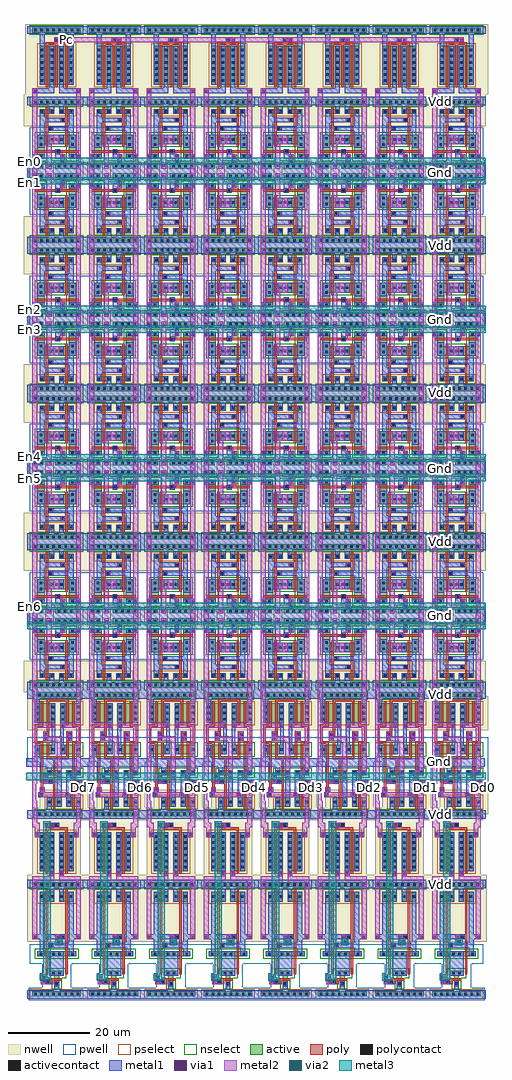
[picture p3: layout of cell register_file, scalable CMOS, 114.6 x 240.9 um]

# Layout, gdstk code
import gdstk
lib = gdstk.Library(unit=1e-6, precision=1e-09)
def R(c, l, rs):  # rectangles x0, y0, x1, y1
    for r in rs: c.add(gdstk.rectangle(r[:2], r[2:], *l))
def A(c, l, x, y, w, h, nx, ny, dx, dy):  # array of equal rectangles
    R(c, l, [(x+i*dx, y+j*dy, x+i*dx+w, y+j*dy+h) for i in range(nx) for j in range(ny)])
pwell = (41, 0)
nwell = (42, 0)
active = (43, 0)
pselect = (44, 0)
nselect = (45, 0)
poly = (46, 0)
polycontact = (47, 0)
activecontact = (48, 0)
metal1 = (49, 0)
via1 = (50, 0)
metal2 = (51, 0)
via2 = (61, 0)
metal3 = (62, 0)

precharge = lib.new_cell('precharge')
R(precharge, nwell, [(-7.5,-5.1,8.1,12.3)])
R(precharge, active, [(-3.9,-2.7,4.5,6.9), (-5.7,10.2,6.3,11.4)])
R(precharge, pselect, [(-4.5,-3.3,5.1,7.5)])
R(precharge, nselect, [(-6.3,9.6,6.9,12)])
A(precharge, poly, -2.4, -3.3, 0.6, 10.5, 3, 1, 2.4, 0)
R(precharge, poly, [(-2.4,7.2,3,7.8), (-0.3,7.8,0.9,9)])
R(precharge, polycontact, [(0,8.1,0.6,8.7)])
A(precharge, activecontact, -3.6, -1.95, 0.6, 0.6, 4, 6, 2.4, 1.5)
A(precharge, activecontact, -5.25, 10.5, 0.6, 0.6, 8, 1, 1.5, 0)
R(precharge, metal1, [(-5.7,-4.8,-0.3,-3.6), (0.9,-4.8,6.3,-3.6), (-1.5,-3.6,-0.3,6.9), (0.9,-3.6,2.1,6.9), (-3.9,-2.7,-2.7,9.9), (3.3,-2.7,4.5,9.9), (-0.3,7.8,2.1,9), (-6.9,9.9,7.5,11.7)])
R(precharge, via1, [(-5.4,-4.5,-4.8,-3.9), (5.4,-4.5,6,-3.9), (1.2,8.1,1.8,8.7)])
R(precharge, metal2, [(-5.7,-6,-4.5,-3.6), (5.1,-6,6.3,-3.6), (0.9,7.8,2.1,9)])
precharge.add(gdstk.Label('Clk', (1.5,8.4), layer=51, texttype=0))
precharge.add(gdstk.Label('Bl', (-5.1,-5.4), layer=51, texttype=0))
precharge.add(gdstk.Label('Bl_', (5.7,-5.4), layer=51, texttype=0))

sram = lib.new_cell('sram')
R(sram, pwell, [(-2.7,-14.4,11.1,-11.4), (-2.4,-11.4,3,-9.3), (5.4,-11.4,10.8,-9.3), (-2.4,-9.3,10.8,-3.3)])
R(sram, nwell, [(-3.9,-3,11.4,4.8)])
R(sram, active, [(-1.8,-13.5,0.9,-12.3), (3.9,-13.5,10.2,-12.3), (-0.6,-11.1,1.2,-7.5), (7.2,-11.1,9,-7.5), (-0.6,-7.5,3.6,-5.1), (4.8,-7.5,9,-5.1), (0,0,3.6,1.2), (4.8,0,8.4,1.2), (-1.8,2.4,10.2,3.6)])
R(sram, pselect, [(-2.4,-14.1,1.5,-11.7), (3.3,-14.1,10.8,-11.7), (-0.6,-0.6,9,1.8)])
R(sram, nselect, [(-1.2,-11.7,1.8,-8.1), (6.6,-11.7,9.6,-8.1), (-1.2,-8.1,9.6,-4.5), (-2.4,1.8,10.8,4.2)])
R(sram, poly, [(3.9,-9.9,5.1,-9.6), (-1.2,-9.6,9.6,-9), (3.9,-9,5.1,-8.7), (1.5,-8.1,2.1,-4.2), (6.3,-8.1,6.9,-2.1), (1.5,-4.2,3.3,-3), (1.5,-3,2.1,1.8), (5.1,-2.1,6.9,-0.9), (6.3,-0.9,6.9,1.8)])
R(sram, polycontact, [(4.2,-9.6,4.8,-9), (2.4,-3.9,3,-3.3), (5.4,-1.8,6,-1.2)])
A(sram, activecontact, 4.5, -13.2, 0.6, 0.6, 4, 1, 1.5, 0)
A(sram, activecontact, 0.3, 0.3, 0.6, 0.6, 4, 1, 2.4, 0)
A(sram, activecontact, -1.35, 2.7, 0.6, 0.6, 8, 1, 1.5, 0)
R(sram, activecontact, [(-1.5,-13.2,-0.9,-12.6), (0,-13.2,0.6,-12.6), (0,-10.8,0.6,-10.2), (7.8,-10.8,8.4,-10.2), (0,-7.8,0.6,-7.2), (7.8,-7.8,8.4,-7.2), (2.7,-6.6,3.3,-6), (5.1,-6.6,5.7,-6), (0,-6.3,0.6,-5.7), (7.8,-6.3,8.4,-5.7)])
R(sram, metal1, [(-3,-14.1,11.4,-12), (-1.8,-11.1,1.2,-9.9), (3.9,-11.1,6.3,-9.9), (7.2,-11.1,10.2,-9.9), (3.9,-9.9,5.1,-8.7), (-0.6,-8.4,1.2,-5.1), (7.2,-8.4,9,-5.1), (2.4,-7.5,6,-5.1), (0,-5.1,1.2,-2.1), (7.2,-5.1,8.4,-4.2), (2.1,-4.2,8.4,-3), (7.2,-3,8.4,1.2), (0,-2.1,6.3,-0.9), (0,-0.9,1.2,1.2), (2.4,0,3.6,2.1), (4.8,0,6,2.1), (-3,2.1,11.4,4.2)])
R(sram, via1, [(2.1,-13.05,2.7,-12.45), (-1.5,-10.8,-0.9,-10.2), (5.4,-10.8,6,-10.2), (9.3,-10.8,9.9,-10.2), (3.9,-6.6,4.5,-6)])
R(sram, metal2, [(-1.8,-14.1,-0.6,4.2), (9,-14.1,10.2,4.2), (1.8,-13.5,3,-7.5), (5.1,-12.3,6.3,-9.9), (1.8,-7.5,4.8,-5.1)])
R(sram, via2, [(5.4,-12,6,-11.4)])
R(sram, metal3, [(-3,-12.6,11.4,-10.8)])
sram.add(gdstk.Label('Vdd', (4.2,3), layer=49, texttype=0))
sram.add(gdstk.Label('Gnd', (3.6,-13.2), layer=49, texttype=0))
sram.add(gdstk.Label('En', (10.8,-11.7), layer=62, texttype=0))
sram.add(gdstk.Label('Bl', (-1.2,-6.9), layer=51, texttype=0))
sram.add(gdstk.Label('Bl_', (9.6,-6.9), layer=51, texttype=0))

write_driver = lib.new_cell('write_driver')
R(write_driver, pwell, [(1.2,-15.9,13.2,-10.8), (-1.8,-10.8,13.2,-4.8)])
R(write_driver, nwell, [(-0.6,-25.2,12,-23.7), (-0.6,-23.7,13.2,-22.2), (1.2,-22.2,13.2,-17.7), (-1.8,-3,13.2,5.4), (-0.6,5.4,12,7.2)])
R(write_driver, active, [(0.3,-24.3,11.1,-23.1), (3,-21.9,6.6,-19.5), (7.8,-21.9,11.4,-19.5), (3,-14.1,6.6,-12.9), (7.8,-14.1,11.4,-12.9), (0,-9,5.1,-6.6), (6.3,-9,11.4,-6.6), (0,-1.2,5.1,3.6), (6.3,-1.2,11.4,3.6), (0.3,5.1,11.1,6.3)])
R(write_driver, pselect, [(2.4,-22.5,12,-18.9), (-0.6,-1.8,12,4.2)])
R(write_driver, nselect, [(-0.3,-24.9,11.7,-22.5), (2.4,-14.7,12,-12.3), (-0.6,-9.6,12,-6), (-0.3,4.5,11.7,6.9)])
R(write_driver, poly, [(4.5,-22.5,5.1,-16.2), (9.3,-22.5,9.9,-16.5), (0.9,-19.5,2.1,-18.3), (1.5,-18.3,2.1,-6.3), (9.3,-16.5,11.1,-15.3), (3.3,-16.2,5.1,-15), (9.3,-15.3,9.9,-6.3), (4.5,-15,5.1,-10.2), (3,-10.2,8.4,-9.6), (3,-9.6,3.6,-6), (7.8,-9.6,8.4,-4.5), (0,-6.3,2.1,-5.7), (9.3,-6.3,11.4,-5.7), (0,-5.7,0.6,-2.1), (10.8,-5.7,11.4,-2.1), (2.1,-4.5,3.6,-3.3), (7.8,-4.5,9.3,-3.3), (3,-3.3,3.6,4.2), (0,-2.1,2.1,-1.5), (9.3,-2.1,11.4,-1.5), (7.8,-1.8,8.4,4.2), (1.5,-1.5,2.1,4.2), (9.3,-1.5,9.9,4.2), (3,4.2,8.4,4.8)])
R(write_driver, polycontact, [(1.2,-19.2,1.8,-18.6), (10.2,-16.2,10.8,-15.6), (3.6,-15.9,4.2,-15.3), (2.4,-4.2,3,-3.6), (8.4,-4.2,9,-3.6)])
A(write_driver, activecontact, 0.9, -24, 0.6, 0.6, 7, 2, 1.5, 29.4)
A(write_driver, activecontact, 3.3, -21, 0.6, 0.6, 4, 2, 2.4, 7.2)
A(write_driver, activecontact, 0.3, -0.6, 0.6, 0.6, 1, 3, 0, 1.5)
A(write_driver, activecontact, 4.2, -0.6, 0.6, 0.6, 1, 3, 0, 1.5)
A(write_driver, activecontact, 6.6, -0.6, 0.6, 0.6, 1, 3, 0, 1.5)
A(write_driver, activecontact, 10.5, -0.6, 0.6, 0.6, 1, 3, 0, 1.5)
R(write_driver, activecontact, [(0.3,-8.1,0.9,-7.5), (4.2,-8.1,4.8,-7.5), (6.6,-8.1,7.2,-7.5), (10.5,-8.1,11.1,-7.5)])
R(write_driver, metal1, [(-1.8,-24.9,12.6,-22.8), (3,-22.8,4.2,-19.5), (10.2,-22.8,11.4,-19.5), (5.4,-21.9,6.6,-12.9), (7.8,-21.9,9,-19.5), (0.9,-19.5,2.1,-18.3), (7.5,-19.5,9,-18.3), (1.2,-18.3,2.4,-17.1), (7.8,-18.3,9,-12.9), (9.9,-16.5,12.6,-15.3), (2.1,-16.2,4.5,-15), (3,-14.1,4.2,-12), (10.2,-14.1,11.4,-12), (0,-12,11.4,-10.2), (0,-10.2,1.2,-6.6), (10.2,-10.2,11.4,-6.6), (3.9,-9,5.1,-6.6), (6.3,-9,7.5,-6.6), (4.2,-6.6,5.1,-2.4), (6.3,-6.6,7.2,-2.4), (2.1,-5.7,3.3,-3.3), (8.1,-5.7,9.3,-3.3), (3.9,-2.4,5.1,3.6), (6.3,-2.4,7.5,3.6), (0,-1.2,1.2,4.8), (10.2,-1.2,11.4,4.8), (-1.8,4.8,12.6,6.9)])
R(write_driver, via1, [(7.8,-19.2,8.4,-18.6), (1.5,-18,2.1,-17.4), (11.7,-16.2,12.3,-15.6), (2.4,-15.9,3,-15.3), (5.7,-15,6.3,-14.4), (2.4,-5.4,3,-4.8), (8.4,-5.4,9,-4.8), (4.2,-2.1,4.8,-1.5), (6.6,-2.1,7.2,-1.5)])
R(write_driver, metal2, [(-0.6,-24.9,0.6,-20.4), (10.2,-24.9,11.4,-19.5), (-0.6,-20.4,0.3,-16.2), (1.2,-19.5,8.7,-18.3), (9.6,-19.5,11.4,-18.6), (9.6,-18.6,10.5,-17.1), (1.2,-18.3,2.4,-17.1), (11.4,-17.7,12.6,-15.3), (9.3,-17.1,10.5,-16.2), (-0.6,-16.2,0.6,-2.4), (2.1,-16.2,3.3,-13.8), (9.3,-16.2,10.2,-13.8), (5.4,-15.3,6.6,-5.7), (9.3,-13.8,11.4,-12.6), (10.2,-12.6,11.4,-2.4), (2.1,-5.7,6.6,-4.5), (7.8,-5.7,9.3,-4.5), (2.1,-4.5,3.3,-3.3), (8.1,-4.5,9.3,-3.3), (-0.6,-2.4,5.1,-1.2), (6.3,-2.4,11.4,-1.2), (-0.6,-1.2,0.6,6.9), (10.2,-1.2,11.4,6.9)])
R(write_driver, via2, [(11.7,-17.4,12.3,-16.8), (2.4,-14.7,3,-14.1)])
R(write_driver, metal3, [(11.1,-18,12.9,-16.2), (-2.1,-15.3,12.6,-13.5)])
write_driver.add(gdstk.Label('Gnd', (5.7,-12), layer=49, texttype=0))
write_driver.add(gdstk.Label('Vdd', (5.7,6.6), layer=49, texttype=0))
write_driver.add(gdstk.Label('Dd', (10.5,-15.6), layer=49, texttype=0))
write_driver.add(gdstk.Label('Vdd', (5.7,-23.7), layer=49, texttype=0))
write_driver.add(gdstk.Label('Bl_', (10.8,-18.9), layer=51, texttype=0))
write_driver.add(gdstk.Label('Ds', (12,-14.4), layer=62, texttype=0))
write_driver.add(gdstk.Label('Dd', (12,-17.1), layer=62, texttype=0))

isolation = lib.new_cell('isolation')
R(isolation, nwell, [(-6,3.3,6,16.5)])
R(isolation, active, [(-4.2,5.1,-0.6,14.7), (0.6,5.1,4.2,14.7)])
R(isolation, pselect, [(-4.8,4.5,4.8,15.3)])
R(isolation, poly, [(-2.7,4.5,-2.1,15.3), (2.1,4.5,2.7,15.3), (-2.7,15.3,2.7,15.9), (-0.6,15.9,0.6,17.1)])
R(isolation, polycontact, [(-0.3,16.2,0.3,16.8)])
A(isolation, activecontact, -3.9, 5.85, 0.6, 0.6, 4, 6, 2.4, 1.5)
R(isolation, metal1, [(-1.8,3.9,-0.6,14.7), (0.6,3.9,1.8,14.7), (-4.2,5.1,-3,13.5), (3,5.1,4.2,13.5), (-5.4,13.5,-3,14.7), (3,13.5,5.4,14.7), (-0.6,15.9,0.6,17.1)])
R(isolation, via1, [(-1.5,4.2,-0.9,4.8), (0.9,4.2,1.5,4.8), (-5.1,13.8,-4.5,14.4), (4.5,13.8,5.1,14.4)])
R(isolation, metal2, [(-6,1.5,-4.8,2.7), (4.8,1.5,6,2.7), (-6,2.7,-0.6,3.9), (0.6,2.7,6,3.9), (-1.8,3.9,-0.6,5.1), (0.6,3.9,1.8,5.1), (-5.4,13.5,-4.2,15.9), (4.2,13.5,5.4,15.9), (-6,15.9,-4.2,17.1), (4.2,15.9,6,17.1), (-6,17.1,-4.8,18.3), (4.8,17.1,6,18.3)])
isolation.add(gdstk.Label('B', (-5.4,17.7), layer=51, texttype=0))
isolation.add(gdstk.Label('B_', (5.4,17.7), layer=51, texttype=0))
isolation.add(gdstk.Label('Bl', (-5.4,2.1), layer=51, texttype=0))
isolation.add(gdstk.Label('Bl_', (5.4,2.1), layer=51, texttype=0))
isolation.add(gdstk.Label('As', (0,16.5), layer=49, texttype=0))

diffamp = lib.new_cell('diffamp')
R(diffamp, pwell, [(22.8,-11.4,36.6,-8.4), (26.1,-8.4,33.3,-2.4), (23.1,-2.4,36.3,2.4)])
R(diffamp, nwell, [(22.5,3,37.2,19.5)])
R(diffamp, active, [(23.7,-10.5,35.7,-9.3), (29.1,-8.1,30.3,-5.4), (27.9,-5.4,31.5,-4.2), (24.9,-0.6,34.5,0.6), (25.5,12.9,29.1,15.3), (30.3,12.9,33.9,15.3), (23.7,16.5,35.7,17.7)])
R(diffamp, pselect, [(23.1,-11.1,36.3,-8.7), (24.9,12.3,34.5,15.9)])
R(diffamp, nselect, [(28.5,-8.7,30.9,-6), (27.3,-6,32.1,-3.6), (24.3,-1.2,35.1,1.2), (23.1,15.9,36.3,18.3)])
R(diffamp, poly, [(27,-7.5,28.8,-6.6), (27,-6.6,30.9,-6.3), (28.2,-6.3,30.9,-6), (27,-5.1,27.6,1.5), (31.8,-5.1,32.4,3.6), (27,1.5,28.8,2.7), (27,2.7,27.6,15.9), (30.6,3.6,32.4,4.8), (31.8,4.8,32.4,15.9)])
R(diffamp, polycontact, [(27.3,-7.2,27.9,-6.6), (27.9,1.8,28.5,2.4), (30.9,3.9,31.5,4.5)])
A(diffamp, activecontact, 24.15, -10.2, 0.6, 0.6, 8, 2, 1.5, 27)
A(diffamp, activecontact, 25.8, 13.8, 0.6, 0.6, 4, 1, 2.4, 0)
R(diffamp, activecontact, [(29.4,-7.8,30,-7.2), (28.65,-5.1,29.25,-4.5), (30.15,-5.1,30.75,-4.5), (25.5,-0.3,26.1,0.3), (28.65,-0.3,29.25,0.3), (30.15,-0.3,30.75,0.3), (33.3,-0.3,33.9,0.3)])
R(diffamp, metal1, [(22.5,-11.1,36.9,-9), (29.1,-9,30.3,-6.9), (27,-7.5,28.2,-6.3), (27.9,-5.4,31.5,0.6), (24.9,-0.6,26.7,0.6), (32.7,-0.6,34.5,0.6), (25.5,0.6,26.7,3.6), (32.7,0.6,33.9,1.5), (27.6,1.5,33.9,2.7), (32.7,2.7,33.9,3.6), (23.7,3.6,31.8,4.8), (32.7,3.6,35.7,4.8), (25.5,4.8,26.7,15.3), (32.7,4.8,33.9,15.3), (27.9,12.9,29.1,16.2), (30.3,12.9,31.5,16.2), (22.5,16.2,36.9,18.3)])
R(diffamp, via1, [(24,3.9,24.6,4.5), (29.7,3.9,30.3,4.5), (34.8,3.9,35.4,4.5)])
R(diffamp, metal2, [(29.7,2.4,30.9,3.6), (23.7,3.6,24.9,18.3), (29.4,3.6,30.6,4.8), (34.5,3.6,35.7,18.3)])
R(diffamp, via2, [(30,2.7,30.6,3.3)])
R(diffamp, metal3, [(29.4,2.1,31.2,3.9)])
diffamp.add(gdstk.Label('Vdd', (29.7,17.1), layer=49, texttype=0))
diffamp.add(gdstk.Label('As', (27.6,-6.9), layer=49, texttype=0))
diffamp.add(gdstk.Label('Gnd', (29.7,-9.9), layer=49, texttype=0))
diffamp.add(gdstk.Label('A', (24.3,5.4), layer=51, texttype=0))
diffamp.add(gdstk.Label('Ad', (30.3,3), layer=62, texttype=0))

reg_bit = lib.new_cell('reg_bit')
R(reg_bit, nwell, [(0,-49.8,1.2,-47.7), (10.8,-49.8,12,-47.7), (-1.2,-46.8,0,-44.7), (0,-31.2,12,-30), (-1.2,0.6,0,1.5), (12.6,0.6,13.2,1.5)])
R(reg_bit, metal1, [(-1.2,-74.1,0,-72), (2.1,-70.5,3.3,-69.3), (-1.2,-46.8,0,-44.7), (4.2,-31.8,5.4,-30.6), (-1.2,-29.7,0,-27.6), (-1.5,-16.8,12.9,-14.7)])
R(reg_bit, via1, [(2.4,-70.2,3,-69.6), (4.5,-31.5,5.1,-30.9)])
R(reg_bit, metal2, [(2.1,-70.5,3.3,-68.1), (0,-49.8,1.2,-47.7), (10.8,-49.8,12,-47.7), (0.6,-33,1.8,-31.8), (10.2,-33,11.4,-31.8), (3,-31.8,5.4,-30.6)])
R(reg_bit, via2, [(2.4,-69,3,-68.4), (3.3,-31.5,3.9,-30.9)])
R(reg_bit, metal3, [(1.8,-69.6,4.5,-67.8), (2.7,-67.8,4.5,-30.3), (-1.2,-20.1,0.3,-18.3)])
reg_bit.add(gdstk.Reference(precharge, (5.7,154.2)))
reg_bit.add(gdstk.Reference(sram, (1.8,144.3)))
reg_bit.add(gdstk.Reference(sram, (1.8,116.1), x_reflection=True))
reg_bit.add(gdstk.Reference(sram, (1.8,107.7)))
reg_bit.add(gdstk.Reference(sram, (1.8,79.5), x_reflection=True))
reg_bit.add(gdstk.Reference(sram, (1.8,71.1)))
reg_bit.add(gdstk.Reference(sram, (1.8,42.9), x_reflection=True))
reg_bit.add(gdstk.Reference(sram, (1.8,34.5)))
reg_bit.add(gdstk.Reference(sram, (1.8,6.3), x_reflection=True))
reg_bit.add(gdstk.Reference(write_driver, (0.6,-4.8)))
reg_bit.add(gdstk.Reference(isolation, (6,-47.7)))
reg_bit.add(gdstk.Reference(diffamp, (-23.7,-63)))
reg_bit.add(gdstk.Label('Ds', (-0.6,-19.2), layer=62, texttype=0))
reg_bit.add(gdstk.Label('Vdd', (-0.6,-45.6), layer=49, texttype=0))
reg_bit.add(gdstk.Label('Vdd', (-0.6,-28.8), layer=49, texttype=0))
reg_bit.add(gdstk.Label('Gnd', (-0.6,-15.9), layer=49, texttype=0))
reg_bit.add(gdstk.Label('A', (0.6,-49.2), layer=51, texttype=0))
reg_bit.add(gdstk.Label('Bl', (1.2,-32.4), layer=51, texttype=0))
reg_bit.add(gdstk.Label('Bl_', (10.8,-32.4), layer=51, texttype=0))
reg_bit.add(gdstk.Label('A_', (11.4,-49.2), layer=51, texttype=0))
reg_bit.add(gdstk.Label('Gnd', (-0.6,-72.9), layer=49, texttype=0))
reg_bit.add(gdstk.Label('As', (2.7,-68.7), layer=62, texttype=0))
reg_bit.add(gdstk.Label('iso_sel', (3.6,-31.35), layer=62, texttype=0))

register_file = lib.new_cell('register_file')
A(register_file, pwell, 19.2, -11.4, 0.3, 3, 7, 1, 14.1, 0)
A(register_file, pwell, 18.9, -2.4, 0.9, 4.8, 7, 1, 14.1, 0)
A(register_file, pwell, 18.9, 72.6, 0.9, 8.1, 7, 2, 14.1, 13.5)
A(register_file, pwell, 19.2, 80.7, 0.3, 5.4, 7, 4, 14.1, 36.6)
A(register_file, pwell, 18.9, 109.2, 0.9, 8.1, 7, 2, 14.1, 13.5)
A(register_file, pwell, 18.9, 145.8, 0.9, 8.1, 7, 2, 14.1, 13.5)
A(register_file, pwell, 18.9, 182.4, 0.9, 8.1, 7, 2, 14.1, 13.5)
A(register_file, nwell, 18.9, 33, 1.5, 1.5, 7, 1, 14.1, 0)
A(register_file, nwell, 20.1, 34.5, 0.3, 1.5, 7, 1, 14.1, 0)
R(register_file, nwell, [(107.1,3.6,107.7,4.8), (106.5,16.5,107.7,18.3)])
R(register_file, metal1, [(106.5,0.3,107.7,0.6), (107.4,0.6,107.7,1.8), (106.5,16.5,107.7,18.3), (106.5,33.9,107.7,35.1), (106.5,46.5,107.4,48.3), (106.5,63,107.7,64.5), (106.5,82.8,107.7,84), (106.5,101.1,107.7,102.6), (106.5,119.1,107.7,120.3), (106.5,138,107.4,138.9), (106.5,156,107.7,157.2), (106.5,174.3,107.7,175.8), (106.5,192.3,107.4,193.8), (106.5,209.7,107.7,210.9), (106.8,227.1,107.7,227.4)])
R(register_file, metal2, [(11.7,225,112.8,226.2)])
A(register_file, metal3, 18, 40.2, 1.8, 1.8, 8, 1, 14.1, 0)
R(register_file, metal3, [(5.1,84.9,6.3,86.7), (5.1,116.7,6.3,118.5), (5.1,121.5,6.3,123.3), (5.1,153.3,6.3,155.1), (5.1,158.1,6.3,159.9), (5.1,189.9,6.3,191.7), (5.1,194.7,6.3,196.5)])
register_file.add(gdstk.Reference(reg_bit, (6.3,63)))
register_file.add(gdstk.Reference(reg_bit, (20.4,63)))
register_file.add(gdstk.Reference(reg_bit, (34.5,63)))
register_file.add(gdstk.Reference(reg_bit, (48.6,63)))
register_file.add(gdstk.Reference(reg_bit, (62.7,63)))
register_file.add(gdstk.Reference(reg_bit, (76.8,63)))
register_file.add(gdstk.Reference(reg_bit, (90.9,63)))
register_file.add(gdstk.Reference(reg_bit, (105,63)))
register_file.add(gdstk.Label('Vdd', (107.1,17.1), layer=49, texttype=0))
register_file.add(gdstk.Label('Vdd', (107.1,34.5), layer=49, texttype=0))
register_file.add(gdstk.Label('Gnd', (106.8,47.4), layer=49, texttype=0))
register_file.add(gdstk.Label('Vdd', (107.1,63.9), layer=49, texttype=0))
register_file.add(gdstk.Label('Gnd', (107.1,83.4), layer=49, texttype=0))
register_file.add(gdstk.Label('Vdd', (107.1,101.7), layer=49, texttype=0))
register_file.add(gdstk.Label('Gnd', (107.1,119.7), layer=49, texttype=0))
register_file.add(gdstk.Label('Vdd', (107.1,138.6), layer=49, texttype=0))
register_file.add(gdstk.Label('Gnd', (107.1,156.6), layer=49, texttype=0))
register_file.add(gdstk.Label('Vdd', (107.1,174.9), layer=49, texttype=0))
register_file.add(gdstk.Label('Gnd', (107.1,192.9), layer=49, texttype=0))
register_file.add(gdstk.Label('Vdd', (107.1,210.3), layer=49, texttype=0))
register_file.add(gdstk.Label('Dd0', (117.6,41.1), layer=62, texttype=0))
register_file.add(gdstk.Label('Dd1', (103.5,41.1), layer=62, texttype=0))
register_file.add(gdstk.Label('Dd2', (89.4,41.1), layer=62, texttype=0))
register_file.add(gdstk.Label('Dd3', (75.3,41.1), layer=62, texttype=0))
register_file.add(gdstk.Label('Dd4', (61.2,41.1), layer=62, texttype=0))
register_file.add(gdstk.Label('Dd5', (47.1,41.1), layer=62, texttype=0))
register_file.add(gdstk.Label('Dd6', (33,41.1), layer=62, texttype=0))
register_file.add(gdstk.Label('Dd7', (18.9,41.1), layer=62, texttype=0))
register_file.add(gdstk.Label('En0', (5.7,195.6), layer=62, texttype=0))
register_file.add(gdstk.Label('En1', (5.7,190.5), layer=62, texttype=0))
register_file.add(gdstk.Label('En2', (5.7,159), layer=62, texttype=0))
register_file.add(gdstk.Label('En3', (5.7,154.2), layer=62, texttype=0))
register_file.add(gdstk.Label('En4', (5.7,122.7), layer=62, texttype=0))
register_file.add(gdstk.Label('En5', (5.7,117.3), layer=62, texttype=0))
register_file.add(gdstk.Label('En6', (5.7,85.8), layer=62, texttype=0))
register_file.add(gdstk.Label('Pc', (14.7,225.6), layer=51, texttype=0))

lib.write_gds('register_file.gds')
